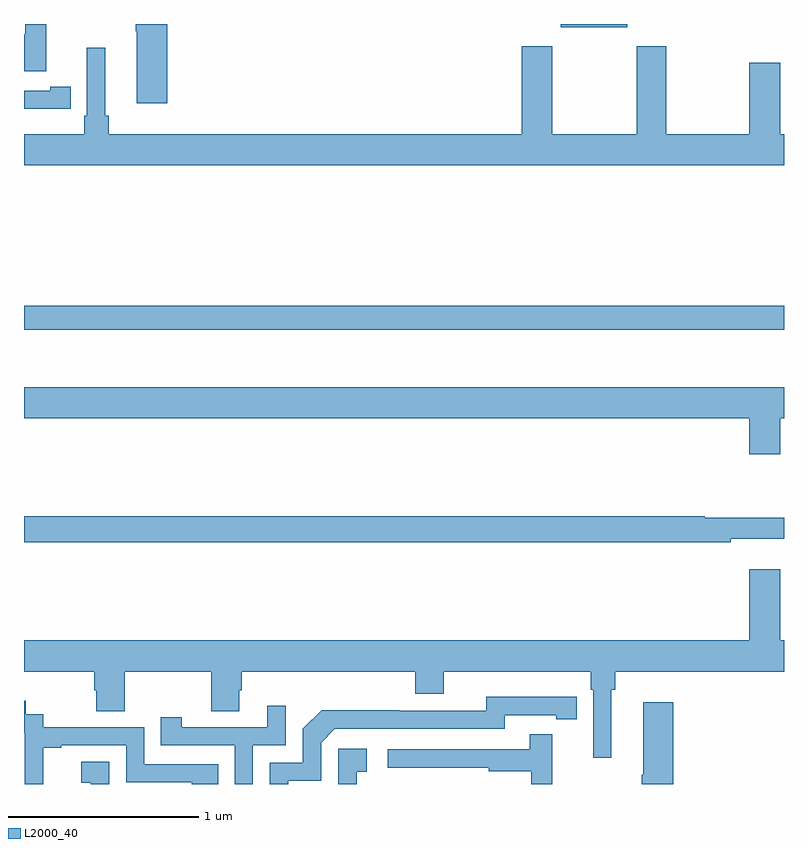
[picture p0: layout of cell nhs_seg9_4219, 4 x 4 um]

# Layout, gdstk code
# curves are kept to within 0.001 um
import gdstk
lib = gdstk.Library(unit=1e-6, precision=1e-09)
def R(c, l, rs):  # rectangles x0, y0, x1, y1
    for r in rs: c.add(gdstk.rectangle(r[:2], r[2:], *l))
def P(c, l, *ps):  # polygons
    for p in ps: c.add(gdstk.Polygon(p, *l))
L2000_40 = (2000, 40)

nhs_seg9_4219 = lib.new_cell('nhs_seg9_4219')
R(nhs_seg9_4219, L2000_40, [(353,1192.89,357,1193.018), (355.826,1194.482,356.176,1194.5)])
P(nhs_seg9_4219, L2000_40, [(353.753,1194.5),(353.587,1194.5),(353.587,1194.463),(353.594,1194.463),(353.594,1194.084),(353.753,1194.084)],
  [(353.117,1194.5),(353.007,1194.5),(353.007,1194.446),(353,1194.446),(353,1194.252),(353.117,1194.252)],
  [(357,1193.92),(356.98,1193.92),(356.98,1194.295),(356.816,1194.295),(356.816,1193.92),(356.379,1193.92),(356.379,1194.382),(356.224,1194.382),(356.224,1193.92),(355.779,1193.92),(355.779,1194.382),(355.619,1194.382),(355.619,1193.92),(353.447,1193.92),(353.447,1194.016),(353.428,1194.016),(353.428,1194.376),(353.331,1194.376),(353.331,1194.016),(353.318,1194.016),(353.318,1193.92),(353,1193.92),(353,1193.756),(357,1193.756)],
  [(353.138,1194.054),(353.246,1194.054),(353.246,1194.17),(353.138,1194.17),(353.138,1194.15),(353,1194.15),(353,1194.053),(353.138,1194.053)],
  [(356.98,1192.424),(357,1192.424),(357,1192.588),(353,1192.588),(353,1192.424),(356.816,1192.424),(356.816,1192.236),(356.98,1192.236)],
  [(356.72,1191.791),(357,1191.791),(357,1191.901),(356.582,1191.901),(356.582,1191.908),(353,1191.908),(353,1191.772),(356.72,1191.772)],
  [(356.092,1190.996),(356.111,1190.996),(356.111,1191.092),(357,1191.092),(357,1191.256),(356.98,1191.256),(356.98,1191.631),(356.816,1191.631),(356.816,1191.256),(353,1191.256),(353,1191.092),(353.369,1191.092),(353.369,1190.994),(353.381,1190.994),(353.381,1190.884),(353.529,1190.884),(353.529,1191.092),(353.986,1191.092),(353.986,1190.884),(354.133,1190.884),(354.133,1190.994),(354.146,1190.994),(354.146,1191.092),(355.058,1191.092),(355.058,1190.975),(355.21,1190.975),(355.21,1191.092),(355.982,1191.092),(355.982,1190.996),(355.995,1190.996),(355.995,1190.637),(356.092,1190.637)],
  [(354.391,1190.517),(354.564,1190.517),(354.564,1190.718),(354.636,1190.79),(355.53,1190.79),(355.53,1190.862),(355.802,1190.862),(355.802,1190.842),(355.91,1190.842),(355.91,1190.958),(355.434,1190.959),(355.434,1190.886),(354.974,1190.886),(354.974,1190.888),(354.566,1190.888),(354.468,1190.79),(354.468,1190.613),(354.294,1190.613),(354.294,1190.5),(354.391,1190.5)],
  [(353.102,1190.691),(353.197,1190.691),(353.197,1190.703),(353.538,1190.703),(353.538,1190.508),(353.883,1190.508),(353.883,1190.5),(354.023,1190.5),(354.023,1190.604),(353.634,1190.604),(353.634,1190.799),(353.1,1190.799),(353.1,1190.868),(353.008,1190.868),(353.008,1190.938),(353,1190.938),(353,1190.769),(353.004,1190.769),(353.004,1190.54),(353.003,1190.54),(353.003,1190.5),(353.102,1190.5)],
  [(356.417,1190.929),(356.258,1190.929),(356.258,1190.549),(356.251,1190.549),(356.251,1190.5),(356.417,1190.5)],
  [(354.204,1190.703),(354.378,1190.703),(354.378,1190.911),(354.281,1190.911),(354.281,1190.799),(353.83,1190.799),(353.83,1190.851),(353.719,1190.851),(353.719,1190.703),(354.108,1190.703),(354.108,1190.5),(354.204,1190.5)],
  [(355.781,1190.761),(355.663,1190.761),(355.663,1190.682),(354.915,1190.682),(354.915,1190.586),(355.447,1190.586),(355.447,1190.566),(355.671,1190.566),(355.671,1190.5),(355.781,1190.5)],
  [(354.752,1190.565),(354.805,1190.565),(354.805,1190.686),(354.654,1190.686),(354.654,1190.5),(354.752,1190.5)],
  [(353.448,1190.617),(353.301,1190.617),(353.301,1190.507),(353.35,1190.507),(353.35,1190.5),(353.448,1190.5)])

lib.write_gds('nhs_seg9_4219.gds')
